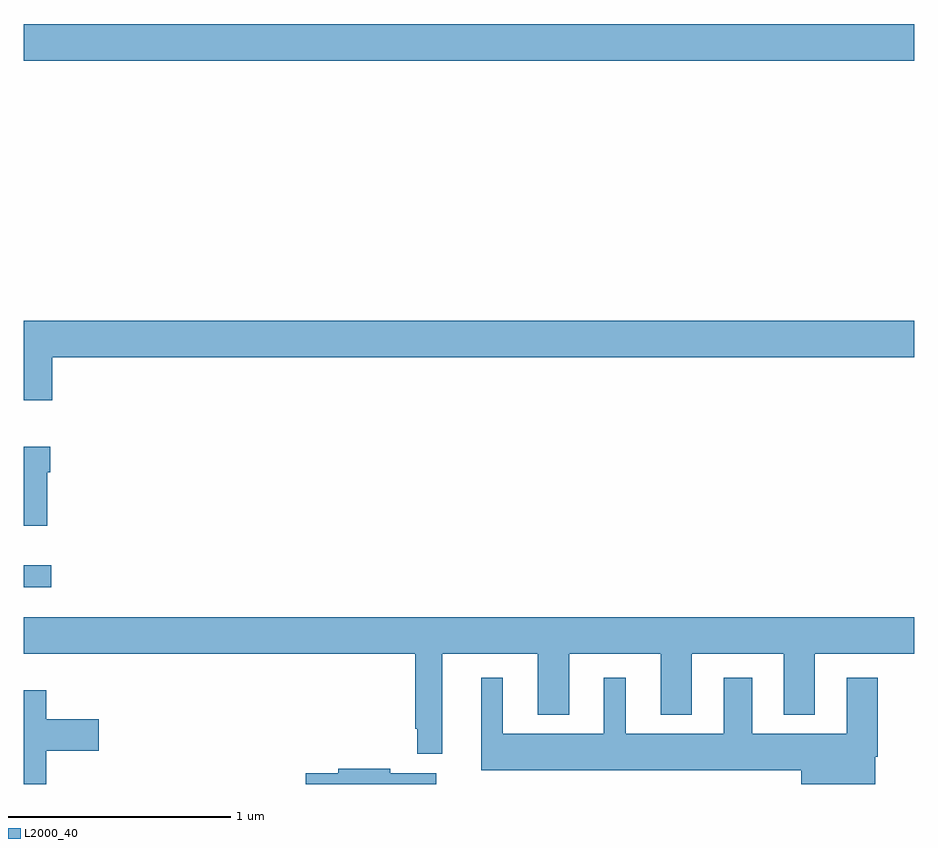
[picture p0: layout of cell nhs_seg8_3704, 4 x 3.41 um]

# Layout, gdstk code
import gdstk
lib = gdstk.Library(unit=1e-6, precision=1e-09)
def R(c, l, rs):  # rectangles x0, y0, x1, y1
    for r in rs: c.add(gdstk.rectangle(r[:2], r[2:], *l))
def P(c, l, *ps):  # polygons
    for p in ps: c.add(gdstk.Polygon(p, *l))
L2000_40 = (2000, 40)

nhs_seg8_3704 = lib.new_cell('nhs_seg8_3704')
R(nhs_seg8_3704, L2000_40, [(339,1132.784,339.124,1132.881), (339,1135.148,343,1135.312)])
P(nhs_seg8_3704, L2000_40, [(339.128,1133.816),(343,1133.816),(343,1133.98),(339,1133.98),(339,1133.622),(339.128,1133.622)],
  [(339.106,1133.3),(339.119,1133.3),(339.119,1133.413),(339,1133.413),(339,1133.06),(339.106,1133.06)],
  [(340.879,1132.484),(341.309,1132.484),(341.309,1132.211),(341.449,1132.211),(341.449,1132.484),(341.861,1132.484),(341.861,1132.211),(342.001,1132.211),(342.001,1132.484),(342.413,1132.484),(342.413,1132.211),(342.553,1132.211),(342.553,1132.484),(343,1132.484),(343,1132.648),(339,1132.648),(339,1132.484),(340.758,1132.484),(340.758,1132.147),(340.768,1132.147),(340.768,1132.035),(340.879,1132.035)],
  [(342.823,1132.022),(342.836,1132.022),(342.836,1132.378),(342.695,1132.378),(342.695,1132.126),(342.271,1132.126),(342.271,1132.378),(342.143,1132.378),(342.143,1132.126),(341.704,1132.126),(341.704,1132.378),(341.606,1132.378),(341.606,1132.126),(341.152,1132.126),(341.152,1132.378),(341.054,1132.378),(341.054,1131.962),(342.491,1131.962),(342.491,1131.9),(342.823,1131.9)],
  [(339.101,1132.049),(339.337,1132.049),(339.337,1132.191),(339.101,1132.191),(339.101,1132.321),(339,1132.321),(339,1131.9),(339.101,1131.9)],
  [(340.852,1131.948),(340.646,1131.948),(340.646,1131.968),(340.414,1131.968),(340.414,1131.948),(340.268,1131.948),(340.268,1131.9),(340.852,1131.9)])

lib.write_gds('nhs_seg8_3704.gds')
